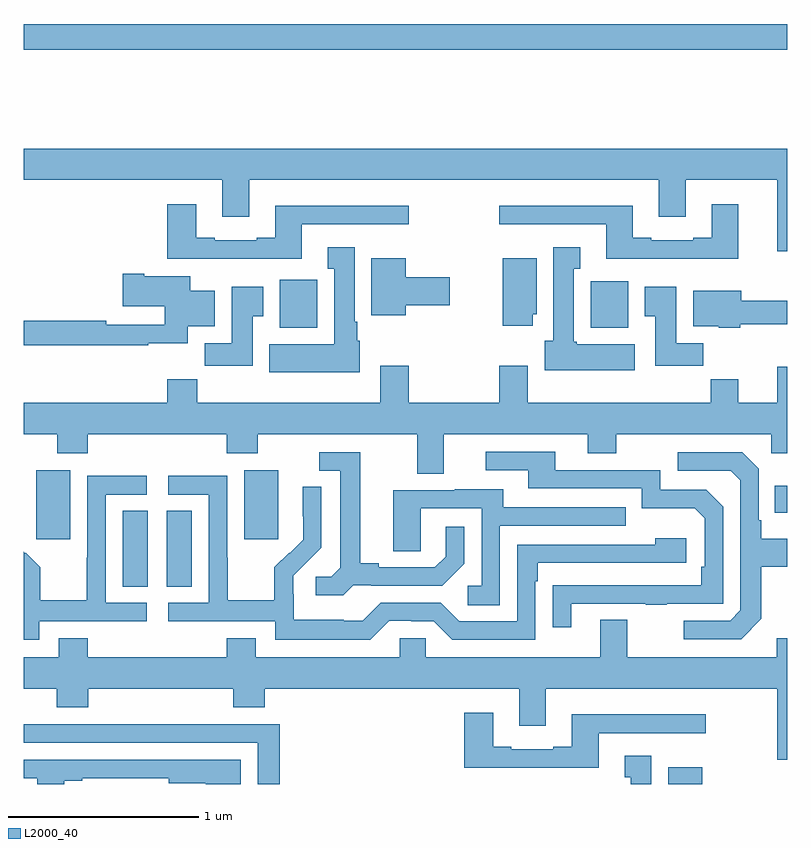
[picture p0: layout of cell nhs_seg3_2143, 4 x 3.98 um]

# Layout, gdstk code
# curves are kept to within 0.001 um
import gdstk
lib = gdstk.Library(unit=1e-6, precision=1e-09)
def R(c, l, rs):  # rectangles x0, y0, x1, y1
    for r in rs: c.add(gdstk.rectangle(r[:2], r[2:], *l))
def P(c, l, *ps):  # polygons
    for p in ps: c.add(gdstk.Polygon(p, *l))
L2000_40 = (2000, 40)

nhs_seg3_2143 = lib.new_cell('nhs_seg3_2143')
R(nhs_seg3_2143, L2000_40, [(224.375,716.4,224.554,716.488), (221.519,717.433,221.65,717.83), (221.75,717.433,221.881,717.83), (221.066,717.681,221.245,718.042), (222.155,717.681,222.334,718.042), (224.935,717.821,225,717.961), (222.341,718.79,222.537,719.041), (223.97,718.79,224.167,719.032), (221,720.244,225,720.38)])
P(nhs_seg3_2143, L2000_40, [(225,719.728),(221,719.728),(221,719.564),(222.041,719.564),(222.041,719.37),(222.181,719.37),(222.181,719.564),(224.327,719.564),(224.327,719.37),(224.467,719.37),(224.467,719.564),(224.948,719.564),(224.948,719.19),(225,719.19)],
  [(222.457,719.331),(223.018,719.331),(223.018,719.428),(222.317,719.428),(222.317,719.26),(222.221,719.26),(222.221,719.247),(222.001,719.247),(222.001,719.26),(221.905,719.26),(221.905,719.437),(221.753,719.437),(221.753,719.15),(222.457,719.15)],
  [(224.743,719.437),(224.603,719.437),(224.603,719.26),(224.507,719.26),(224.507,719.247),(224.287,719.247),(224.287,719.26),(224.191,719.26),(224.191,719.428),(223.491,719.428),(223.491,719.331),(224.051,719.331),(224.051,719.15),(224.743,719.15)],
  [(224.2,718.702),(223.896,718.702),(223.896,718.716),(223.882,718.716),(223.882,719.099),(223.915,719.099),(223.915,719.212),(223.775,719.212),(223.775,718.722),(223.73,718.722),(223.73,718.568),(224.2,718.568)],
  [(222.76,718.722),(222.748,718.722),(222.748,718.822),(222.733,718.822),(222.733,719.212),(222.593,719.212),(222.593,719.099),(222.626,719.099),(222.626,718.702),(222.287,718.702),(222.287,718.556),(222.76,718.556)],
  [(223.666,718.86),(223.687,718.86),(223.687,719.152),(223.508,719.152),(223.508,718.8),(223.666,718.8)],
  [(223,718.907),(223.231,718.907),(223.231,719.054),(223,719.054),(223,719.152),(222.821,719.152),(222.821,718.856),(223,718.856)],
  [(221.654,718.709),(221.86,718.709),(221.86,718.796),(222.001,718.796),(222.001,718.984),(221.872,718.984),(221.872,719.059),(221.632,719.059),(221.632,719.072),(221.52,719.072),(221.52,718.901),(221.738,718.901),(221.738,718.806),(221.432,718.806),(221.432,718.826),(221,718.826),(221,718.698),(221.654,718.698)],
  [(224.558,718.708),(224.419,718.708),(224.419,719.005),(224.252,719.005),(224.252,718.849),(224.309,718.849),(224.309,718.59),(224.558,718.59)],
  [(222.199,718.849),(222.256,718.849),(222.256,719.005),(222.089,719.005),(222.089,718.708),(221.95,718.708),(221.95,718.59),(222.199,718.59)],
  [(224.754,718.808),(225,718.808),(225,718.93),(224.758,718.93),(224.758,718.984),(224.507,718.984),(224.507,718.796),(224.64,718.796),(224.64,718.79),(224.754,718.79)],
  [(223.201,718.232),(223.955,718.232),(223.955,718.133),(224.103,718.133),(224.103,718.232),(224.916,718.232),(224.916,718.133),(225,718.133),(225,718.585),(224.948,718.585),(224.948,718.396),(224.743,718.396),(224.743,718.52),(224.599,718.52),(224.599,718.396),(223.639,718.396),(223.639,718.591),(223.492,718.591),(223.492,718.396),(223.017,718.396),(223.017,718.591),(222.869,718.591),(222.869,718.396),(221.909,718.396),(221.909,718.52),(221.753,718.52),(221.753,718.396),(221,718.396),(221,718.232),(221.176,718.232),(221.176,718.133),(221.336,718.133),(221.336,718.232),(222.065,718.232),(222.065,718.133),(222.225,718.133),(222.225,718.232),(223.061,718.232),(223.061,718.024),(223.201,718.024)],
  [(223.867,717.345),(224.257,717.345),(224.257,717.34),(224.369,717.34),(224.369,717.345),(224.664,717.345),(224.664,717.852),(224.574,717.942),(224.334,717.942),(224.334,718.044),(223.783,718.044),(223.783,718.14),(223.419,718.14),(223.419,718.044),(223.643,718.044),(223.643,717.948),(224.238,717.948),(224.238,717.845),(224.515,717.845),(224.568,717.792),(224.568,717.538),(224.548,717.538),(224.548,717.441),(223.771,717.44),(223.771,717.222),(223.867,717.222)],
  [(222.726,717.441),(222.82,717.441),(222.82,717.438),(223.192,717.438),(223.308,717.554),(223.308,717.748),(223.211,717.748),(223.211,717.591),(223.154,717.534),(222.859,717.534),(222.859,717.557),(222.763,717.557),(222.763,718.137),(222.549,718.137),(222.549,718.041),(222.659,718.041),(222.659,717.533),(222.612,717.486),(222.531,717.486),(222.531,717.389),(222.674,717.389)],
  [(224.863,717.265),(224.863,717.538),(225,717.538),(225,717.685),(224.863,717.685),(224.863,717.781),(224.85,717.781),(224.85,718.05),(224.763,718.137),(224.427,718.137),(224.427,718.041),(224.703,718.041),(224.754,717.99),(224.754,717.309),(224.7,717.255),(224.457,717.255),(224.457,717.159),(224.757,717.159)],
  [(221.082,717.252),(221.644,717.252),(221.644,717.348),(221.43,717.348),(221.43,717.915),(221.644,717.915),(221.644,718.014),(221.334,718.014),(221.334,717.584),(221.332,717.584),(221.332,717.361),(221.087,717.361),(221.087,717.535),(221.01,717.612),(221.007,717.609),(221,717.616),(221,717.155),(221.082,717.155)],
  [(222.915,717.255),(223.031,717.255),(223.031,717.252),(223.149,717.252),(223.245,717.156),(223.68,717.156),(223.68,717.461),(223.693,717.461),(223.693,717.558),(224.47,717.558),(224.47,717.688),(224.309,717.688),(224.309,717.654),(223.584,717.654),(223.584,717.252),(223.281,717.252),(223.185,717.348),(222.87,717.348),(222.777,717.255),(222.677,717.255),(222.677,717.259),(222.414,717.259),(222.414,717.393),(222.412,717.393),(222.412,717.49),(222.558,717.638),(222.558,717.956),(222.462,717.956),(222.462,717.802),(222.464,717.802),(222.464,717.68),(222.393,717.609),(222.39,717.612),(222.313,717.535),(222.313,717.361),(222.069,717.361),(222.069,717.584),(222.066,717.584),(222.066,718.014),(221.757,718.014),(221.757,717.915),(221.97,717.915),(221.97,717.348),(221.757,717.348),(221.757,717.252),(222.318,717.252),(222.318,717.155),(222.815,717.155)],
  [(223.494,717.753),(224.153,717.753),(224.153,717.849),(223.513,717.849),(223.513,717.943),(223.259,717.943),(223.259,717.939),(222.935,717.939),(222.935,717.619),(223.08,717.619),(223.08,717.843),(223.398,717.843),(223.398,717.438),(223.326,717.438),(223.326,717.337),(223.494,717.337)],
  [(223.107,717.162),(222.969,717.162),(222.969,717.064),(222.217,717.064),(222.217,717.163),(222.065,717.163),(222.065,717.064),(221.336,717.064),(221.336,717.163),(221.183,717.163),(221.183,717.064),(221,717.064),(221,716.9),(221.174,716.9),(221.174,716.801),(221.339,716.801),(221.339,716.9),(222.098,716.9),(222.098,716.801),(222.263,716.801),(222.263,716.9),(223.595,716.9),(223.595,716.706),(223.735,716.706),(223.735,716.9),(224.948,716.9),(224.948,716.526),(225,716.526),(225,717.163),(224.945,717.163),(224.945,717.064),(224.161,717.064),(224.161,717.259),(224.021,717.259),(224.021,717.064),(223.107,717.064)],
  [(224.011,716.667),(224.572,716.667),(224.572,716.764),(223.871,716.764),(223.871,716.596),(223.775,716.596),(223.775,716.583),(223.555,716.583),(223.555,716.596),(223.459,716.596),(223.459,716.773),(223.307,716.773),(223.307,716.486),(224.011,716.486)],
  [(222.341,716.712),(222.014,716.712),(222.014,716.714),(221.422,716.714),(221.422,716.712),(221.09,716.712),(221.09,716.714),(221,716.714),(221,716.616),(222.225,716.616),(222.225,716.4),(222.341,716.4)],
  [(224.287,716.548),(224.147,716.548),(224.147,716.435),(224.18,716.435),(224.18,716.4),(224.287,716.4)],
  [(221.212,716.418),(221.308,716.418),(221.308,716.43),(221.76,716.43),(221.76,716.405),(221.954,716.405),(221.954,716.4),(222.136,716.4),(222.136,716.527),(221.86,716.527),(221.86,716.526),(221,716.526),(221,716.43),(221.072,716.43),(221.072,716.4),(221.212,716.4)])

lib.write_gds('nhs_seg3_2143.gds')
